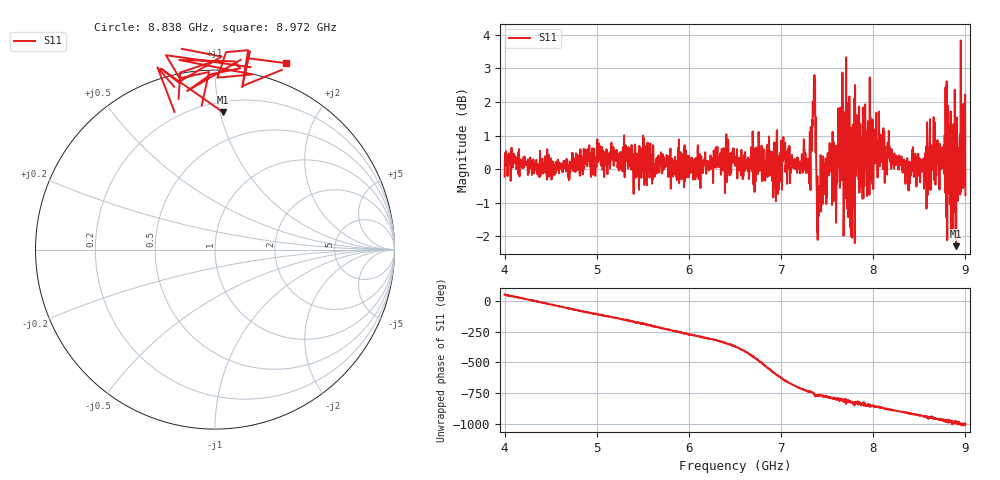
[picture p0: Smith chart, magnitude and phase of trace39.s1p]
! Created with skrf 1.8.0 (http://scikit-rf.org).
# Hz S RI R 50.0
!freq ReS11 ImS11
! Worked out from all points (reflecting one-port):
!   1601 points, 4 GHz to 9 GHz, reference 50 ohm
!   lowest |S11| = -2.3 dB at 8.9 GHz (marker M1), VSWR 7.62, Z = 13.6 + j51 ohm
!   phase of S11 starts at 51 deg and turns -1053 deg over the sweep
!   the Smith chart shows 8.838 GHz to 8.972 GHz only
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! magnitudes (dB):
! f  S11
! 4 GHz  -0.2
! 4.094 GHz  0.3
! 4.625 GHz  -0.1
! 5.25 GHz  0.0
! 5.875 GHz  0.1
! 6.5 GHz  0.1
! 7.125 GHz  0.1
! 7.294 GHz  -0.1
! 7.347 GHz  1.6
! 7.362 GHz  2.8
! 7.397 GHz  -2.1
! 7.409 GHz  -1.4
! 7.525 GHz  0.8
! 7.588 GHz  -0.1
! 7.688 GHz  1.6
! 7.703 GHz  -0.3
! 7.719 GHz  -0.8
! 7.75 GHz  -1.1
! 7.775 GHz  0.8
! 7.8 GHz  -2.2
! 7.828 GHz  1.3
! 7.881 GHz  0.7
! 8.056 GHz  0.2
! 8.375 GHz  0.2
! 8.9 GHz  -2.3
! 8.919 GHz  -0.2
! 8.972 GHz  0.9
! 9 GHz  -0.8
